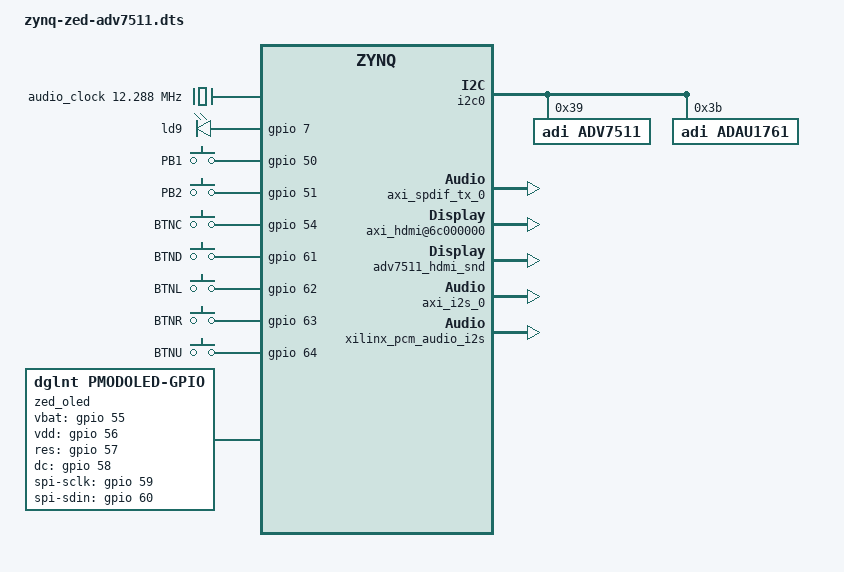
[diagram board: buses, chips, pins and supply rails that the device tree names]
/dts-v1/;

/include/ "zynq-zed.dtsi"

/ {
	fpga_axi: fpga-axi@0 {
		compatible = "simple-bus";
		#address-cells = <0x1>;
		#size-cells = <0x1>;
		ranges;

		i2c0: i2c@0 {
			compatible = "xlnx,ps7-i2c-1.00.a";
			reg = <0xe0004000 0x1000>;
			interrupts = <0 25 4>;
			interrupt-parent = <&gic>;
			bus-id = <0>;
			input-clk = <111111111>;
			i2c-clk = <100000>;
			#address-cells = <1>;
			#size-cells = <0>;

			adv7511: adv7511@39 {
				compatible = "adi,adv7511";
				reg = <0x39>;

				adi,input-style = <0x02>;
				adi,input-id = <0x01>;
				adi,input-color-depth = <0x3>;
				adi,sync-pulse = <0x03>;
				adi,bit-justification = <0x01>;
				adi,up-conversion = <0x00>;
				adi,timing-generation-sequence = <0x00>;
				adi,vsync-polarity = <0x02>;
				adi,hsync-polarity = <0x02>;
				adi,tdms-clock-inversion;
				adi,clock-delay = <0x03>;
			};

			adau1761: adau1761@3b {
				compatible = "adi,adau1761";
				reg = <0x3b>;
			};
		};

		axi_dma_0: axidma@40400000 {
			#address-cells = <1>;
			#size-cells = <1>;
			#dma-cells = <1>;
			compatible = "xlnx,axi-dma";
			reg = < 0x40400000 0x1000 >;
			xlnx,sg-include-stscntrl-strm = <0x0>;
			dma-channel@40400000 {
				compatible = "xlnx,axi-dma-mm2s-channel";
				interrupts = < 0 58 0x4 >;
				xlnx,datawidth = <0x20>;
				xlnx,include-dre = <0x0>;
			};
		};

		axi_spdif_tx_0: axi-spdif-tx@0x75c00000 {
			compatible = "adi,axi-spdif-tx-1.00.a";
			reg = < 0x75c00000 0x1000 >;
			clock-frequency = <12288000>;
		};

		axi_vdma_0: axivdma@43000000 {
			#address-cells = <1>;
			#size-cells = <1>;
			#dma-cells = <1>;
			compatible = "xlnx,axi-vdma";
			reg = <0x43000000 0x1000>;
			xlnx,include-sg = <0x0>;
			xlnx,num-fstores = <0x3>;
			dma-channel@7e200000 {
				compatible = "xlnx,axi-vdma-mm2s-channel";
				interrupts = <0 59 0x4>;
				xlnx,datawidth = <0x40>;
				xlnx,genlock-mode = <0x0>;
				xlnx,include-dre = <0x0>;
			};
		};

		fpga_clock: fpga_clock {
			compatible = "fixed-clock";
			#clock-cells = <0>;
			clock-frequency  = <200000000>;
		};

		hdmi_clock: axi-clkgen@66000000 {
			compatible = "adi,axi-clkgen-1.00.a";
			reg = <0x66000000 0x10000>;
			#clock-cells = <0>;
			clocks = <&fpga_clock>;
		};

		axi_hdmi@6c000000 {
			compatible = "adi,axi-hdmi-1.00.a";
			reg = <0x6c000000 0x10000>;
			encoder-slave = <&adv7511>;
			dma-request = <&axi_vdma_0 0>;
			clocks = <&hdmi_clock>;
		};

		xilinx_pcm_audio: xilinx_pcm_audio {
			compatible = "xilinx-pcm-audio";
			#size-cells = <0>;
			#address-cells = <1>;
			stream@0 {
				reg = <0>;
				dma-request = <&axi_dma_0 0>;
			};
		};

		adv7511_hdmi_snd: adv7511_hdmi_snd {
			compatible = "adv7511-hdmi-snd";
			audio-codec-adapter = <&i2c0>;
			cpu-dai = <&axi_spdif_tx_0>;
			pcm = <&xilinx_pcm_audio>;
		};

		axi_dma_i2s: axidma@40410000 {
			#address-cells = <1>;
			#size-cells = <1>;
			#dma-cells = <1>;
			compatible = "xlnx,axi-dma";
			reg = < 0x40410000 0x1000 >;
			xlnx,sg-include-stscntrl-strm = <0x0>;
			dma-channel@40410000 {
				compatible = "xlnx,axi-dma-mm2s-channel";
				interrupts = < 0 55 0x4 >;
				xlnx,datawidth = <0x20>;
				xlnx,include-dre = <0x0>;
			};
			dma-channel@40410030 {
				compatible = "xlnx,axi-dma-s2mm-channel";
				interrupts = < 0 56 0x4 >;
				xlnx,datawidth = <0x20>;
				xlnx,include-dre = <0x0>;
			};
		};

		audio_clock: audio_clock {
			compatible = "fixed-clock";
			#clock-cells = <0>;
			clock-frequency  = <12288000>;
		};

		axi_i2s_0: axi-i2s@0x77600000 {
			compatible = "adi,axi-i2s-1.00.a";
			reg = < 0x77600000 0x1000 >;
			clocks = <&audio_clock>;
		};

		xilinx_pcm_audio_i2s: xilinx_pcm_audio_i2s {
			compatible = "xilinx-pcm-audio";
			#size-cells = <0>;
			#address-cells = <1>;

			stream@0 {
				reg = <0>;
				dma-request = <&axi_dma_i2s 0>;
			};
			stream@1 {
				reg = <1>;
				dma-request = <&axi_dma_i2s 1>;
			};
		};

		zed_adau1761_snd: zed_adau1761_snd {
			compatible = "zed-adau1761-snd";
			audio-codec = <&adau1761>;
			cpu-dai = <&axi_i2s_0>;
			pcm = <&xilinx_pcm_audio_i2s>;
		};

		leds {
			compatible = "gpio-leds";
			ld9 {
				label = "ld9";
				gpios = <&gpio 7 0>;
				linux,default-trigger = "heartbeat";
			};
		};

		gpio_keys {
			compatible = "gpio-keys";
			#address-cells = <1>;
			#size-cells = <0>;
			autorepeat;
			btn8 {
				label = "PB1";
				linux,code = <28>; // Enter
				gpios = <&gpio 50 0>;
			};
			btn9 {
				label = "PB2";
				linux,code = <1>; // ESC
				gpios = <&gpio 51 0>;
			};
			btnc {
				label = "BTNC";
				linux,code = <76>; // Numeric 5
				gpios = <&gpio 54 0>;
			};
			btnd {
				label = "BTND";
				linux,code = <80>; // DOWN 2
				gpios = <&gpio 61 0>;
			};
			btnl {
				label = "BTNL";
				linux,code = <75>; // LEFT 4
				gpios = <&gpio 62 0>;
			};
			btnr {
				label = "BTNR";
				linux,code = <77>; // RT ARROW 6
				gpios = <&gpio 63 0>;
			};
			btnu {
				label = "BTNU";
				linux,code = <72>; // UP 8
				gpios = <&gpio 64 0>;
			};
		};

		zed_oled {
			compatible = "dglnt,pmodoled-gpio";
			/* GPIO Pins */
			vbat-gpio = <&gpio 55 0>;
			vdd-gpio = <&gpio 56 0>;
			res-gpio = <&gpio 57 0>;
			dc-gpio = <&gpio 58 0>;
			/* SPI-GPIOs */
			spi-bus-num = <2>;
			spi-sclk-gpio = <&gpio 59 0>;
			spi-sdin-gpio = <&gpio 60 0>;
		};

	};
};
